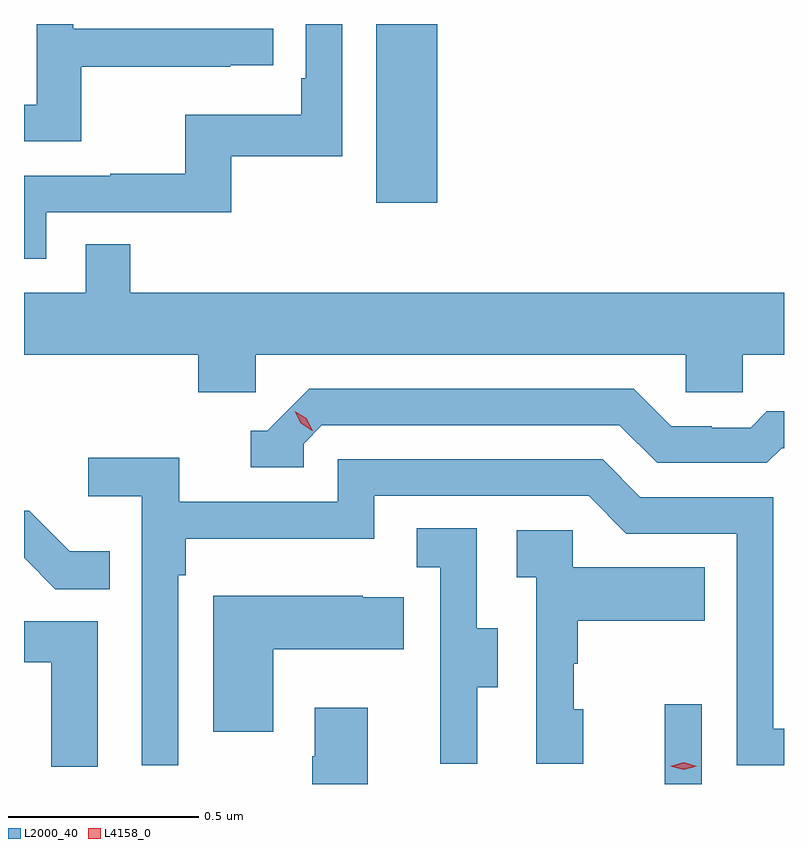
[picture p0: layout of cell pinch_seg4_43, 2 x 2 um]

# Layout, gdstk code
import gdstk
lib = gdstk.Library(unit=1e-6, precision=1e-09)
def R(c, l, rs):  # rectangles x0, y0, x1, y1
    for r in rs: c.add(gdstk.rectangle(r[:2], r[2:], *l))
def P(c, l, *ps):  # polygons
    for p in ps: c.add(gdstk.Polygon(p, *l))
L2000_40 = (2000, 40)
L4158_0 = (4158, 0)

pinch_seg4_43 = lib.new_cell('pinch_seg4_43')
R(pinch_seg4_43, L2000_40, [(1120.022,830.323,1120.119,830.533), (1119.263,831.852,1119.424,832.323)])
P(pinch_seg4_43, L2000_40, [(1118.486,832.21),(1118.879,832.21),(1118.879,832.215),(1118.992,832.215),(1118.992,832.311),(1118.466,832.311),(1118.466,832.323),(1118.37,832.323),(1118.37,832.11),(1118.336,832.11),(1118.336,832.014),(1118.486,832.014)],
  [(1118.394,831.828),(1118.881,831.828),(1118.881,831.975),(1119.174,831.975),(1119.174,832.323),(1119.078,832.323),(1119.078,832.18),(1119.065,832.18),(1119.065,832.084),(1118.76,832.084),(1118.76,831.929),(1118.563,831.929),(1118.563,831.924),(1118.336,831.924),(1118.336,831.705),(1118.394,831.705)],
  [(1118.946,831.452),(1120.077,831.452),(1120.077,831.354),(1120.227,831.354),(1120.227,831.452),(1120.336,831.452),(1120.336,831.616),(1118.615,831.616),(1118.615,831.743),(1118.499,831.743),(1118.499,831.616),(1118.336,831.616),(1118.336,831.452),(1118.795,831.452),(1118.795,831.354),(1118.946,831.354)],
  [(1119.072,831.219),(1119.12,831.267),(1119.903,831.267),(1120.002,831.168),(1120.291,831.168),(1120.33,831.207),(1120.336,831.207),(1120.336,831.304),(1120.291,831.304),(1120.249,831.261),(1120.146,831.261),(1120.146,831.264),(1120.039,831.264),(1119.94,831.363),(1119.087,831.363),(1118.976,831.252),(1118.933,831.252),(1118.933,831.156),(1119.072,831.156)],
  [(1118.742,830.873),(1118.762,830.873),(1118.762,830.969),(1119.258,830.969),(1119.258,831.081),(1119.822,831.081),(1119.921,830.982),(1120.212,830.982),(1120.212,830.373),(1120.336,830.373),(1120.336,830.469),(1120.308,830.469),(1120.308,831.078),(1119.958,831.078),(1119.859,831.177),(1119.162,831.177),(1119.162,831.066),(1118.744,831.066),(1118.744,831.182),(1118.505,831.182),(1118.505,831.08),(1118.646,831.08),(1118.646,830.373),(1118.742,830.373)],
  [(1118.561,830.935),(1118.457,830.935),(1118.35,831.042),(1118.336,831.042),(1118.336,830.918),(1118.418,830.836),(1118.561,830.836)],
  [(1119.529,830.578),(1119.583,830.578),(1119.583,830.733),(1119.528,830.733),(1119.528,830.996),(1119.369,830.996),(1119.369,830.893),(1119.432,830.893),(1119.432,830.589),(1119.431,830.589),(1119.431,830.376),(1119.529,830.376)],
  [(1119.808,830.52),(1119.783,830.52),(1119.783,830.639),(1119.793,830.639),(1119.793,830.753),(1120.127,830.753),(1120.127,830.893),(1119.78,830.893),(1119.78,830.991),(1119.633,830.991),(1119.633,830.867),(1119.684,830.867),(1119.684,830.376),(1119.808,830.376)],
  [(1118.992,830.678),(1119.335,830.678),(1119.335,830.815),(1119.227,830.815),(1119.227,830.818),(1118.834,830.818),(1118.834,830.46),(1118.992,830.46)],
  [(1118.53,830.751),(1118.336,830.751),(1118.336,830.643),(1118.408,830.643),(1118.408,830.369),(1118.53,830.369)],
  [(1119.241,830.524),(1119.101,830.524),(1119.101,830.396),(1119.094,830.396),(1119.094,830.323),(1119.241,830.323)])
P(pinch_seg4_43, L4158_0, [(1119.095,831.252),(1119.064,831.272),(1119.048,831.304),(1119.048,831.304),(1119.048,831.304),(1119.079,831.285),(1119.096,831.253),(1119.096,831.252)],
  [(1120.072,830.36),(1120.036,830.37),(1120.036,830.37),(1120.036,830.37),(1120.072,830.38),(1120.107,830.37),(1120.107,830.37),(1120.107,830.37)])

lib.write_gds('pinch_seg4_43.gds')
